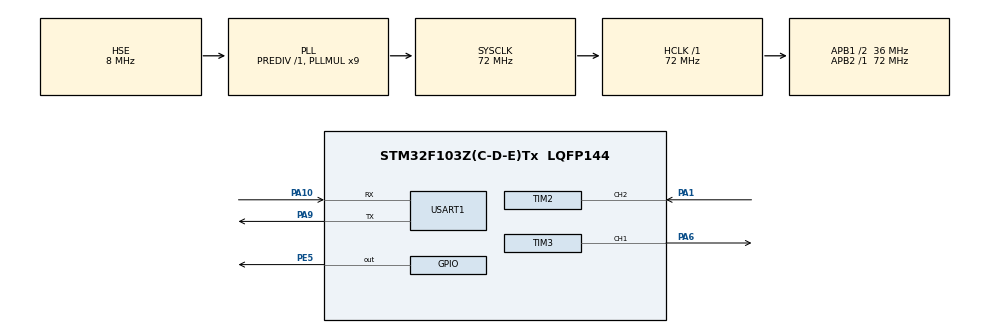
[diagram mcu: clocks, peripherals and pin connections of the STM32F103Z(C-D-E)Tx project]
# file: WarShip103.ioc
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Mcu.Family=STM32F1
Mcu.Name=STM32F103Z(C-D-E)Tx
Mcu.Package=LQFP144
NVIC.PriorityGroup=NVIC_PRIORITYGROUP_4
NVIC.TIM2_IRQn=true\:0\:0\:false\:false\:true\:true\:true\:true
NVIC.TIM3_IRQn=true\:0\:0\:false\:false\:true\:true\:true\:true
OSC_IN.Mode=HSE-External-Oscillator
OSC_IN.Signal=RCC_OSC_IN
OSC_OUT.Mode=HSE-External-Oscillator
OSC_OUT.Signal=RCC_OSC_OUT
PA1.Signal=S_TIM2_CH2
PA10.Mode=Asynchronous
PA10.Signal=USART1_RX
PA13.Mode=Serial_Wire
PA13.Signal=SYS_JTMS-SWDIO
PA14.Mode=Serial_Wire
PA14.Signal=SYS_JTCK-SWCLK
PA6.Signal=S_TIM3_CH1
PA9.Mode=Asynchronous
PA9.Signal=USART1_TX
PE5.GPIO_Speed=GPIO_SPEED_FREQ_HIGH
PE5.Signal=GPIO_Output
ProjectManager.HeapSize=0x200
ProjectManager.StackSize=0x400
ProjectManager.TargetToolchain=MDK-ARM V5.32
RCC.AHBFreq_Value=72000000
RCC.APB1CLKDivider=RCC_HCLK_DIV2
RCC.APB1Freq_Value=36000000
RCC.APB1TimFreq_Value=72000000
RCC.APB2Freq_Value=72000000
RCC.APB2TimFreq_Value=72000000
RCC.HCLKFreq_Value=72000000
RCC.PLLMUL=RCC_PLL_MUL9
RCC.PLLSourceVirtual=RCC_PLLSOURCE_HSE
RCC.SYSCLKFreq_VALUE=72000000
RCC.SYSCLKSource=RCC_SYSCLKSOURCE_PLLCLK
RCC.USBFreq_Value=72000000
SH.S_TIM2_CH2.0=TIM2_CH2,Input_Capture2_from_TI2
SH.S_TIM3_CH1.0=TIM3_CH1,PWM Generation1 CH1
TIM1.AutoReloadPreload=TIM_AUTORELOAD_PRELOAD_ENABLE
TIM1.Channel-PWM\ Generation1\ CH1N=TIM_CHANNEL_1
TIM1.Period=20000-1
TIM1.Prescaler=72-1
TIM1.Pulse-PWM\ Generation1\ CH1N=10000
TIM2.AutoReloadPreload=TIM_AUTORELOAD_PRELOAD_ENABLE
TIM2.Channel-Input_Capture2_from_TI2=TIM_CHANNEL_2
TIM2.Period=65536-1
TIM2.Prescaler=72-1
TIM3.AutoReloadPreload=TIM_AUTORELOAD_PRELOAD_ENABLE
TIM3.Channel-PWM\ Generation1\ CH1=TIM_CHANNEL_1
TIM3.Period=24000-1
TIM3.Prescaler=72-1
TIM3.Pulse-PWM\ Generation1\ CH1=12000
USART1.VirtualMode=VM_ASYNC
VP_TIM1_VS_ClockSourceINT.Mode=Internal
VP_TIM2_VS_ClockSourceINT.Mode=Internal
VP_TIM3_VS_ClockSourceINT.Mode=Internal
board=custom

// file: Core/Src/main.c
/* USER CODE BEGIN Header */
/**
  ******************************************************************************
  * @file           : main.c
  * @brief          : Main program body
  ******************************************************************************
  * @attention
  *
  * Copyright (c) 2024 STMicroelectronics.
  * All rights reserved.
  *
  * This software is licensed under terms that can be found in the LICENSE file
  * in the root directory of this software component.
  * If no LICENSE file comes with this software, it is provided AS-IS.
  *
  ******************************************************************************
  */
/* USER CODE END Header */
#include "main.h"
#include "tim.h"
#include "usart.h"
#include "gpio.h"

/* USER CODE BEGIN Includes */
#include <stdio.h>
#include <string.h>
#include <ctype.h>
#include <stdlib.h>
/* USER CODE END Includes */

void SystemClock_Config(void);

/* USER CODE BEGIN 0 */
extern uint8_t  TIM2CH2_CAPTURE_STA;		//输入捕获状态
extern uint32_t	TIM2CH2_CAPTURE_VAL;	//输入捕获值
unsigned long long temp=0;

 extern uint16_t up_edge_cnt;
 uint8_t count_flag=0;
  extern uint32_t Sync_capture_Buf[3];   //存放计数值
 extern uint8_t Sync_Cnt ;    //状态标志位
 extern uint32_t Sync_high_time;   //高电平时间
/* USER CODE END 0 */

int main(void)
{

  /* MCU Configuration--------------------------------------------------------*/

  /* Reset of all peripherals, Initializes the Flash interface and the Systick. */
  HAL_Init();

  /* Configure the system clock */
  SystemClock_Config();

  /* Initialize all configured peripherals */
  MX_GPIO_Init();
  MX_TIM1_Init();
  MX_TIM3_Init();
  MX_TIM2_Init();
  MX_USART1_UART_Init();
  /* USER CODE BEGIN 2 */
	HAL_TIM_PWM_Start(&htim3,TIM_CHANNEL_1);
    HAL_TIM_IC_Start_IT(&htim2,TIM_CHANNEL_2);   //开启TIM2的捕获通道1，并且开启捕获中断
    __HAL_TIM_ENABLE_IT(&htim2,TIM_IT_UPDATE);   //使能更新中断
  /* USER CODE END 2 */

  /* Infinite loop */
  while (1)
  {

    /* USER CODE BEGIN 3 */
		HAL_GPIO_TogglePin(GPIOE,GPIO_PIN_5);
		HAL_Delay(500);
		if(TIM2CH2_CAPTURE_STA&0X80)        //成功捕获到了一次高电平
		{
			temp=TIM2CH2_CAPTURE_STA&0X3F;
//			temp*=65536;		 	    	//溢出时间总和
			temp+=TIM2CH2_CAPTURE_VAL;      //得到总的高电平时间
			printf("HIGH:%lld us\r\n",(unsigned long long)temp);//打印总的高点平时间
			TIM2CH2_CAPTURE_STA=0;          //开启下一次捕获
		}
//////		switch (Sync_Cnt){
//////	case 0:
//////		Sync_Cnt++;
//////		__HAL_TIM_SET_CAPTUREPOLARITY(&htim2, TIM_CHANNEL_2, TIM_INPUTCHANNELPOLARITY_RISING);
//////		HAL_TIM_IC_Start_IT(&htim2, TIM_CHANNEL_2);	//启动输入捕获       或者: __HAL_TIM_ENABLE(&htim5);
//////		break;
//////	case 3:
//////		if(Sync_capture_Buf[1]<Sync_capture_Buf[0]){                  //不存在先捕获高电平后捕获低电平capture_Buf[1]<capture_Buf[0],肯定是有了溢出
//////			Sync_high_time = 0xC350+Sync_capture_Buf[1]- Sync_capture_Buf[0];
//////		}
//////		else{
//////		Sync_high_time = Sync_capture_Buf[1]- Sync_capture_Buf[0];    //高电平时间
//////
//////		}
//////
//////		Sync_Cnt = 0;

//////		break;
//////	}
  }
  /* USER CODE END 3 */
}

void SystemClock_Config(void)
{
  RCC_OscInitTypeDef RCC_OscInitStruct = {0};
  RCC_ClkInitTypeDef RCC_ClkInitStruct = {0};

  /** Initializes the RCC Oscillators according to the specified parameters
  * in the RCC_OscInitTypeDef structure.
  */
  RCC_OscInitStruct.OscillatorType = RCC_OSCILLATORTYPE_HSE;
  RCC_OscInitStruct.HSEState = RCC_HSE_ON;
  RCC_OscInitStruct.HSEPredivValue = RCC_HSE_PREDIV_DIV1;
  RCC_OscInitStruct.HSIState = RCC_HSI_ON;
  RCC_OscInitStruct.PLL.PLLState = RCC_PLL_ON;
  RCC_OscInitStruct.PLL.PLLSource = RCC_PLLSOURCE_HSE;
  RCC_OscInitStruct.PLL.PLLMUL = RCC_PLL_MUL9;
  if (HAL_RCC_OscConfig(&RCC_OscInitStruct) != HAL_OK)
  {
    Error_Handler();
  }

  /** Initializes the CPU, AHB and APB buses clocks
  */
  RCC_ClkInitStruct.ClockType = RCC_CLOCKTYPE_HCLK|RCC_CLOCKTYPE_SYSCLK
                              |RCC_CLOCKTYPE_PCLK1|RCC_CLOCKTYPE_PCLK2;
  RCC_ClkInitStruct.SYSCLKSource = RCC_SYSCLKSOURCE_PLLCLK;
  RCC_ClkInitStruct.AHBCLKDivider = RCC_SYSCLK_DIV1;
  RCC_ClkInitStruct.APB1CLKDivider = RCC_HCLK_DIV2;
  RCC_ClkInitStruct.APB2CLKDivider = RCC_HCLK_DIV1;

  if (HAL_RCC_ClockConfig(&RCC_ClkInitStruct, FLASH_LATENCY_2) != HAL_OK)
  {
    Error_Handler();
  }
}

/* USER CODE BEGIN 4 */
//加入以下代码,支持printf函数,而不需要选择use MicroLIB
#if 1
#pragma import(__use_no_semihosting)
//标准库需要的支持函数
struct __FILE
{
	int handle;

};

FILE __stdout;
//定义_sys_exit()以避免使用半主机模式
void _sys_exit(int x)
{
	x = x;
}
//重定义fputc函数
int fputc(int ch, FILE *f)
{
	HAL_UART_Transmit(&huart1,(uint8_t *)&ch,1,0xFFFF);
	return ch;
}
#endif

/* USER CODE END 4 */

void Error_Handler(void)
{
  __disable_irq();
  while (1)
  {
  }
}
